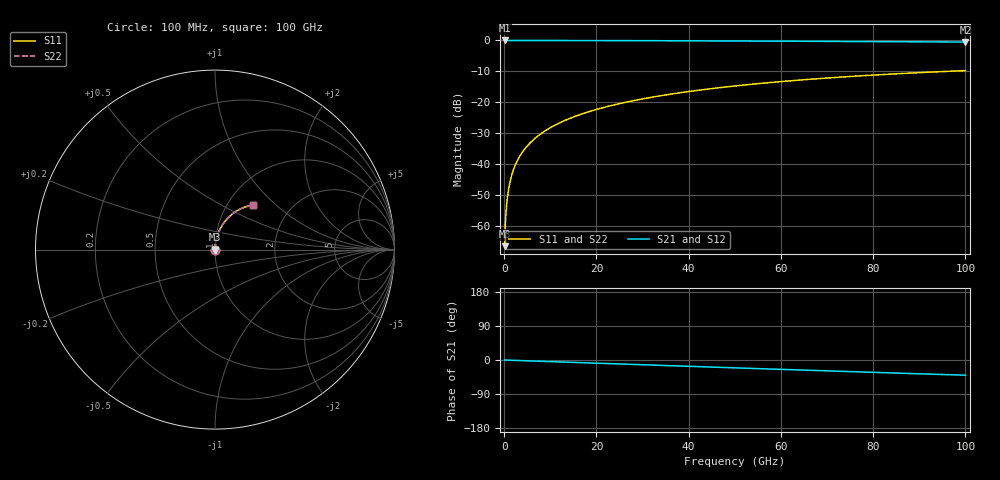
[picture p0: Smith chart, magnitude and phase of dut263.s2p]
! Touchstone file exported from HFSS 2026.1.0
!  File:  C:/ffzhzh/LocalFiles/Ansys_Project_Files/temp_train_TSV_263_1783508546_41296.aedt
!  Generated:  07:03:45 PM Jul  8, 2026
!  Design:  TSV
!  Project:  temp_train_TSV_263_1783508546_41296
! Variables:
!  h_bsmrdl = 2um
!  h_ox = 20um
!  h_rdl = 5um
!  h_sub = 64.02um
!  h_tmrdl = 5um
!  h_tsv = 64.02um
!  h_via = 3um
!  l_bsmrdl = 300um
!  l_sub = 412.72um
!  l_tmrdl = 200um
!  m_sub = 200um
!  pitch = 57.98um
!  r_tsv = 6.36um
!  s_tmrdl = 10um
!  w_bsmrdl = 18um
!  w_sub = 500um
!  w_tmrdl = 12um
!  x_tsv_center1 = 206um
!  x_tsv_center2 = 524um
!  x_tsv_center3 = 736um
!  x_tsv_center4 = 1054um
!  x_tsv_center5 = 1266um
!  x_tsv_center6 = 1584um
# GHz S MA R 50.000000
! Terminal data exported
! Port[1] = TSV1_1_T1
! Port[2] = TSV1_1_T2
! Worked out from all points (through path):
!   1000 points, 100 MHz to 100 GHz, reference 50 ohm
!   highest |S21| = 0.00 dB at 100 MHz (marker M1); lowest = -0.5 dB at 100 GHz (marker M2)
!   group delay of S21, straight-line fit = 1.12 ps
!   lowest |S11| = -66.5 dB at 100 MHz (marker M3), VSWR 1.00, Z = 50 + j0.0421 ohm
!   |S11| at or under -10 dB: start of sweep to 95.86 GHz
!   |S22| runs from -66.5 to -9.7 dB; largest |S21 - S12| = 5.1e-15
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0.1  0.0004729 62.9  0.9998 -0.0  0.9998 -0.0  0.0004729 62.9
! Gamma 0 0 0 0
! Port Impedance 50 0 50 0
0.3  0.001265 79.0  0.9998 -0.1  0.9998 -0.1  0.001265 79.0
0.7  0.00287 84.2  0.9997 -0.3  0.9997 -0.3  0.00287 84.2
0.8  0.003272 84.7  0.9997 -0.3  0.9997 -0.3  0.003272 84.7
1  0.004075 85.3  0.9997 -0.4  0.9997 -0.4  0.004075 85.3
1.3  0.005275 85.8  0.9996 -0.6  0.9996 -0.6  0.005275 85.8
1.7  0.006866 86.0  0.9996 -0.7  0.9996 -0.7  0.006866 86.0
2.3  0.009229 86.1  0.9995 -1.0  0.9995 -1.0  0.009229 86.1
3  0.01196 86.1  0.9994 -1.3  0.9994 -1.3  0.01196 86.1
3.8  0.01506 86.0  0.9993 -1.6  0.9993 -1.6  0.01506 86.0
4.8  0.01892 85.8  0.9991 -2.0  0.9991 -2.0  0.01892 85.8
6  0.02354 85.5  0.9989 -2.6  0.9989 -2.6  0.02354 85.5
8.8  0.03429 84.7  0.9985 -3.7  0.9985 -3.7  0.03429 84.7
12.4  0.04802 83.4  0.9977 -5.2  0.9977 -5.2  0.04802 83.4
16.8  0.06468 81.7  0.9966 -7.1  0.9966 -7.1  0.06468 81.7
24.2  0.09235 78.8  0.9941 -10.2  0.9941 -10.2  0.09235 78.8
33.4  0.126 75.2  0.9902 -14.0  0.9902 -14.0  0.126 75.2
41.2  0.1536 72.1  0.9861 -17.2  0.9861 -17.2  0.1536 72.1
50.1  0.1841 68.5  0.9807 -20.8  0.9807 -20.8  0.1841 68.5
66.7  0.2371 62.0  0.969 -27.4  0.969 -27.4  0.2371 62.0
83.4  0.2848 55.6  0.9558 -33.9  0.9558 -33.9  0.2848 55.6
100  0.3258 49.4  0.9424 -40.2  0.9424 -40.2  0.3258 49.4
